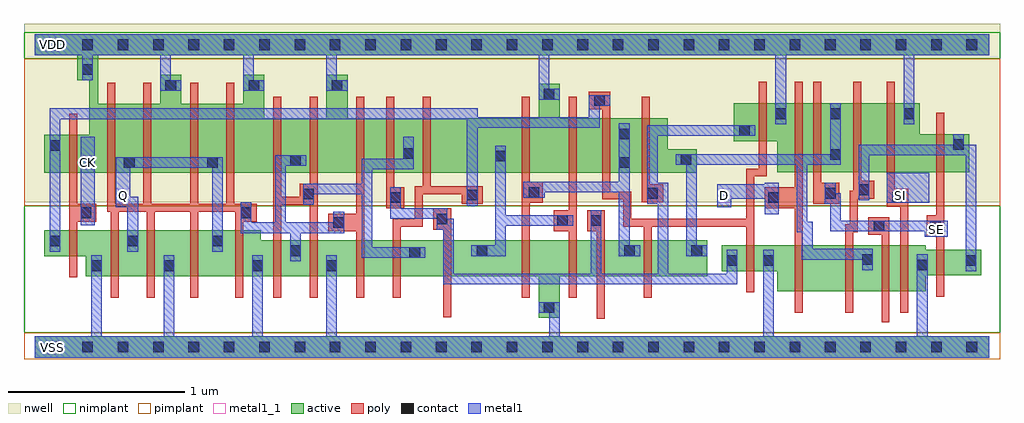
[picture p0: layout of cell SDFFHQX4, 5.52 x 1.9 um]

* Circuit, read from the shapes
.subckt SDFFHQX4 CK D Q SE SI VDD VSS
M1 VSS CK n1 VSS nfet w=0.145u l=0.045u
M2 Q n2 VSS VSS nfet w=0.26u l=0.045u m=4
M3 n2 n3 VSS VSS nfet w=0.205u l=0.045u m=2
M4 n4 n2 VSS VSS nfet w=0.205u l=0.045u
M5 n3 n1 n4 VSS nfet w=0.205u l=0.045u
M6 n5 n6 n3 VSS nfet w=0.205u l=0.045u
M7 VSS n7 n5 VSS nfet w=0.205u l=0.045u
M8 n8 n5 VSS VSS nfet w=0.205u l=0.045u
M9 n7 n6 n8 VSS nfet w=0.205u l=0.045u
M10 n9 n1 n7 VSS nfet w=0.205u l=0.045u
M11 VSS n1 n6 VSS nfet w=0.145u l=0.045u
M12 n10 D VSS VSS nfet w=0.26u l=0.045u
M13 n9 n11 n10 VSS nfet w=0.26u l=0.045u
M14 n12 SE n9 VSS nfet w=0.26u l=0.045u
M15 VSS SI n12 VSS nfet w=0.26u l=0.045u
M16 n11 SE VSS VSS nfet w=0.145u l=0.045u
M17 VDD CK n1 VDD pfet w=0.215u l=0.045u
M18 Q n2 VDD VDD pfet w=0.39u l=0.045u m=4
M19 n2 n3 VDD VDD pfet w=0.31u l=0.045u m=2
M20 n13 n2 VDD VDD pfet w=0.31u l=0.045u
M21 n3 n6 n13 VDD pfet w=0.31u l=0.045u
M22 n5 n1 n3 VDD pfet w=0.31u l=0.045u
M23 VDD n7 n5 VDD pfet w=0.31u l=0.045u
M24 n14 n5 VDD VDD pfet w=0.31u l=0.045u
M25 n7 n1 n14 VDD pfet w=0.31u l=0.045u
M26 n9 n6 n7 VDD pfet w=0.31u l=0.045u
M27 VDD n1 n6 VDD pfet w=0.215u l=0.045u
M28 n15 D VDD VDD pfet w=0.39u l=0.045u
M29 n9 SE n15 VDD pfet w=0.39u l=0.045u
M30 n16 n11 n9 VDD pfet w=0.39u l=0.045u
M31 VDD SI n16 VDD pfet w=0.39u l=0.045u
M32 n11 SE VDD VDD pfet w=0.215u l=0.045u
.ends

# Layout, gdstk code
import gdstk
lib = gdstk.Library(unit=1e-6, precision=5e-10)
def R(c, l, rs):  # rectangles x0, y0, x1, y1
    for r in rs: c.add(gdstk.rectangle(r[:2], r[2:], *l))
def A(c, l, x, y, w, h, nx, ny, dx, dy):  # array of equal rectangles
    R(c, l, [(x+i*dx, y+j*dy, x+i*dx+w, y+j*dy+h) for i in range(nx) for j in range(ny)])
def P(c, l, *ps):  # polygons
    for p in ps: c.add(gdstk.Polygon(p, *l))
active = (1, 0)
nwell = (2, 0)
poly = (3, 0)
nimplant = (4, 0)
pimplant = (5, 0)
contact = (6, 0)
metal1 = (7, 0)
metal1_1 = (7, 1)

sdffhqx4 = lib.new_cell('SDFFHQX4')
R(sdffhqx4, active, [(0,-0.06,5.4,0.06)])
P(sdffhqx4, active, [(0,1.77),(5.4,1.77),(5.4,1.65),(0.36,1.65),(0.36,1.375),(0.71,1.375),(0.71,1.54),(0.83,1.54),(0.83,1.375),(1.18,1.375),(1.18,1.54),(1.3,1.54),(1.3,1.295),(1.65,1.295),(1.65,1.54),(1.77,1.54),(1.77,1.295),(2.85,1.295),(2.85,1.49),(2.97,1.49),(2.97,1.295),(3.58,1.295),(3.58,1.12),(3.745,1.12),(3.745,0.985),(0.055,0.985),(0.055,1.2),(0.31,1.2),(0.31,1.51),(0.24,1.51),(0.24,1.65),(0,1.65)],
  [(3.955,1.38),(5.005,1.38),(5.005,1.205),(5.285,1.205),(5.285,0.99),(4.2,0.99),(4.2,1.165),(3.955,1.165)],
  [(0.055,0.66),(1.28,0.66),(1.28,0.605),(3.805,0.605),(3.805,0.4),(2.97,0.4),(2.97,0.165),(2.85,0.165),(2.85,0.4),(0.29,0.4),(0.29,0.515),(0.055,0.515)],
  [(3.885,0.575),(5.04,0.575),(5.04,0.55),(5.355,0.55),(5.355,0.405),(5.04,0.405),(5.04,0.315),(4.2,0.315),(4.2,0.43),(3.885,0.43)])
R(sdffhqx4, nwell, [(-0.06,0.82,5.46,1.83)])
P(sdffhqx4, poly, [(0.41,1.495),(0.455,1.495),(0.455,0.81),(0.615,0.81),(0.615,1.495),(0.66,1.495),(0.66,0.81),(0.88,0.81),(0.88,1.495),(0.925,1.495),(0.925,0.81),(1.085,0.81),(1.085,1.495),(1.13,1.495),(1.13,0.81),(1.255,0.81),(1.255,0.71),(1.18,0.71),(1.18,0.28),(1.135,0.28),(1.135,0.765),(0.925,0.765),(0.925,0.28),(0.88,0.28),(0.88,0.765),(0.68,0.765),(0.68,0.28),(0.635,0.28),(0.635,0.765),(0.475,0.765),(0.475,0.28),(0.43,0.28),(0.43,0.765),(0.41,0.765)],
  [(0.195,1.32),(0.24,1.32),(0.24,0.81),(0.35,0.81),(0.35,0.71),(0.24,0.71),(0.24,0.395),(0.195,0.395)],
  [(3.135,1.445),(3.255,1.445),(3.255,0.88),(3.375,0.88),(3.375,0.725),(4.025,0.725),(4.025,1.01),(4.095,1.01),(4.095,1.5),(4.14,1.5),(4.14,0.965),(4.07,0.965),(4.07,0.31),(4.025,0.31),(4.025,0.68),(3.49,0.68),(3.49,0.28),(3.445,0.28),(3.445,0.68),(3.33,0.68),(3.33,0.835),(3.21,0.835),(3.21,1.345),(3.135,1.345)],
  [(1.35,1.415),(1.395,1.415),(1.395,0.85),(1.5,0.85),(1.5,0.925),(1.555,0.925),(1.555,1.415),(1.6,1.415),(1.6,0.28),(1.555,0.28),(1.555,0.805),(1.395,0.805),(1.395,0.28),(1.35,0.28)],
  [(1.82,1.415),(1.865,1.415),(1.865,0.28),(1.82,0.28),(1.82,0.655),(1.66,0.655),(1.66,0.755),(1.82,0.755)],
  [(1.99,1.415),(2.035,1.415),(2.035,0.905),(2.09,0.905),(2.09,0.785),(1.99,0.785)],
  [(2.195,1.415),(2.24,1.415),(2.24,0.91),(2.535,0.91),(2.535,0.81),(2.415,0.81),(2.415,0.865),(2.195,0.865),(2.195,0.68),(2.07,0.68),(2.07,0.28),(2.025,0.28),(2.025,0.725),(2.15,0.725),(2.15,0.91),(2.195,0.91)],
  [(2.755,1.415),(2.8,1.415),(2.8,0.935),(2.875,0.935),(2.875,0.815),(2.8,0.815),(2.8,0.28),(2.755,0.28)],
  [(3.02,1.415),(3.065,1.415),(3.065,0.28),(3.02,0.28),(3.02,0.655),(2.935,0.655),(2.935,0.775),(3.02,0.775)],
  [(4.3,1.5),(4.345,1.5),(4.345,0.195),(4.3,0.195),(4.3,0.785),(4.13,0.785),(4.13,0.905),(4.3,0.905)],
  [(4.405,1.5),(4.45,1.5),(4.45,0.93),(4.55,0.93),(4.55,0.81),(4.405,0.81)],
  [(4.63,1.5),(4.675,1.5),(4.675,0.94),(4.75,0.94),(4.75,0.84),(4.655,0.84),(4.655,0.65),(4.63,0.65),(4.63,0.195),(4.585,0.195),(4.585,0.695),(4.61,0.695),(4.61,0.885),(4.63,0.885)],
  [(4.82,1.5),(4.865,1.5),(4.865,0.895),(4.94,0.895),(4.94,0.195),(4.895,0.195),(4.895,0.795),(4.82,0.795)],
  [(3.435,1.415),(3.48,1.415),(3.48,0.92),(3.555,0.92),(3.555,0.82),(3.435,0.82)],
  [(5.1,1.325),(5.145,1.325),(5.145,0.285),(5.1,0.285),(5.1,0.625),(5.045,0.625),(5.045,0.745),(5.1,0.745)],
  [(2.255,0.785),(2.355,0.785),(2.355,0.17),(2.31,0.17),(2.31,0.665),(2.255,0.665)],
  [(3.125,0.775),(3.225,0.775),(3.225,0.16),(3.18,0.16),(3.18,0.655),(3.125,0.655)],
  [(4.715,0.735),(4.835,0.735),(4.835,0.14),(4.79,0.14),(4.79,0.635),(4.715,0.635)])
R(sdffhqx4, nimplant, [(-0.06,0.08,5.46,0.8), (-0.06,1.63,5.46,1.78)])
R(sdffhqx4, pimplant, [(-0.06,-0.07,5.46,0.08), (-0.06,0.8,5.46,1.63)])
A(sdffhqx4, contact, 0.07, -0.03, 0.06, 0.06, 27, 2, 0.2, 1.71)
A(sdffhqx4, contact, 0.74, 1.45, 0.06, 0.06, 3, 1, 0.47, 0)
R(sdffhqx4, contact, [(2.88,0.195,2.94,0.255), (0.32,0.43,0.38,0.49), (0.73,0.43,0.79,0.49), (1.23,0.43,1.29,0.49), (1.65,0.43,1.71,0.49), (4.99,0.435,5.05,0.495), (3.915,0.46,3.975,0.52), (4.12,0.46,4.18,0.52), (5.265,0.46,5.325,0.52), (4.68,0.465,4.74,0.525), (2.12,0.505,2.18,0.565), (1.445,0.515,1.505,0.575), (2.5,0.515,2.56,0.575), (3.335,0.515,3.395,0.575), (3.715,0.515,3.775,0.575), (0.085,0.57,0.145,0.63), (0.525,0.57,0.585,0.63), (1.005,0.57,1.065,0.63), (4.745,0.655,4.805,0.715), (5.065,0.655,5.125,0.715), (1.69,0.675,1.75,0.735), (2.955,0.685,3.015,0.745), (3.145,0.685,3.205,0.745), (2.275,0.695,2.335,0.755), (0.26,0.73,0.32,0.79), (1.165,0.73,1.225,0.79), (2.01,0.815,2.07,0.875), (4.15,0.815,4.21,0.875), (4.85,0.815,4.91,0.875), (2.445,0.83,2.505,0.89), (1.52,0.835,1.58,0.895), (3.465,0.84,3.525,0.9), (4.47,0.84,4.53,0.9), (2.795,0.845,2.855,0.905), (4.66,0.86,4.72,0.92), (0.505,1.015,0.565,1.075), (0.975,1.015,1.035,1.075), (3.305,1.015,3.365,1.075), (1.445,1.025,1.505,1.085), (3.655,1.03,3.715,1.09), (2.605,1.05,2.665,1.11), (4.5,1.06,4.56,1.12), (2.085,1.065,2.145,1.125), (0.085,1.11,0.145,1.17), (5.195,1.115,5.255,1.175), (3.305,1.175,3.365,1.235), (3.985,1.195,4.045,1.255), (4.19,1.29,4.25,1.35), (4.5,1.29,4.56,1.35), (4.915,1.29,4.975,1.35), (3.165,1.365,3.225,1.425), (2.88,1.4,2.94,1.46), (0.27,1.54,0.33,1.6)])
R(sdffhqx4, metal1, [(0.26,0.69,0.34,1.19), (4.82,0.815,5.06,0.985)])
P(sdffhqx4, metal1, [(0,1.77),(5.4,1.77),(5.4,1.65),(4.975,1.65),(4.975,1.26),(4.915,1.26),(4.915,1.65),(4.25,1.65),(4.25,1.26),(4.19,1.26),(4.19,1.65),(2.91,1.65),(2.91,1.46),(2.97,1.46),(2.97,1.4),(2.85,1.4),(2.85,1.65),(1.71,1.65),(1.71,1.51),(1.77,1.51),(1.77,1.45),(1.65,1.45),(1.65,1.65),(1.24,1.65),(1.24,1.51),(1.3,1.51),(1.3,1.45),(1.18,1.45),(1.18,1.65),(0.77,1.65),(0.77,1.51),(0.83,1.51),(0.83,1.45),(0.71,1.45),(0.71,1.65),(0.33,1.65),(0.33,1.51),(0.27,1.51),(0.27,1.65),(0,1.65)],
  [(3.135,1.425),(3.255,1.425),(3.255,1.365),(3.195,1.365),(3.195,1.24),(2.505,1.24),(2.505,0.8),(2.445,0.8),(2.445,1.29),(0.145,1.29),(0.145,0.54),(0.085,0.54),(0.085,1.35),(2.505,1.35),(2.505,1.3),(3.135,1.3)],
  [(2.085,1.19),(2.145,1.19),(2.145,1.005),(1.91,1.005),(1.91,0.565),(2.21,0.565),(2.21,0.505),(1.85,0.505),(1.85,0.865),(1.58,0.865),(1.58,0.805),(1.52,0.805),(1.52,0.925),(1.85,0.925),(1.85,1.065),(2.085,1.065)],
  [(0.46,1.075),(1.065,1.075),(1.065,0.54),(1.005,0.54),(1.005,1.015),(0.54,1.015),(0.54,0.85),(0.585,0.85),(0.585,0.54),(0.525,0.54),(0.525,0.79),(0.46,0.79)],
  [(1.36,1.085),(1.535,1.085),(1.535,1.025),(1.42,1.025),(1.42,0.705),(1.69,0.705),(1.69,0.765),(1.75,0.765),(1.75,0.645),(1.505,0.645),(1.505,0.485),(1.445,0.485),(1.445,0.645),(1.165,0.645),(1.165,0.82),(1.225,0.82),(1.225,0.705),(1.36,0.705)],
  [(3.465,1.255),(4.075,1.255),(4.075,1.195),(3.525,1.195),(3.525,0.93),(3.585,0.93),(3.585,0.415),(3.915,0.415),(3.915,0.55),(3.975,0.55),(3.975,0.355),(2.31,0.355),(2.31,0.665),(2.275,0.665),(2.275,0.725),(2.01,0.725),(2.01,0.905),(2.07,0.905),(2.07,0.785),(2.335,0.785),(2.335,0.725),(2.37,0.725),(2.37,0.415),(3.145,0.415),(3.145,0.775),(3.205,0.775),(3.205,0.415),(3.525,0.415),(3.525,0.81),(3.465,0.81)],
  [(3.305,1.265),(3.365,1.265),(3.365,0.575),(3.425,0.575),(3.425,0.515),(3.305,0.515),(3.305,0.875),(2.885,0.875),(2.885,0.845),(2.765,0.845),(2.765,0.935),(3.305,0.935)],
  [(0.32,0.52),(0.38,0.52),(0.38,0.06),(0.73,0.06),(0.73,0.52),(0.79,0.52),(0.79,0.06),(1.23,0.06),(1.23,0.52),(1.29,0.52),(1.29,0.06),(1.65,0.06),(1.65,0.52),(1.71,0.52),(1.71,0.06),(2.91,0.06),(2.91,0.195),(2.85,0.195),(2.85,0.255),(2.97,0.255),(2.97,0.06),(4.12,0.06),(4.12,0.55),(4.18,0.55),(4.18,0.06),(4.99,0.06),(4.99,0.525),(5.05,0.525),(5.05,0.06),(5.4,0.06),(5.4,-0.06),(0,-0.06),(0,0.06),(0.32,0.06)],
  [(2.605,1.14),(2.665,1.14),(2.665,0.745),(3.045,0.745),(3.045,0.685),(2.665,0.685),(2.665,0.515),(2.47,0.515),(2.47,0.575),(2.605,0.575)],
  [(4.5,1.38),(4.56,1.38),(4.56,1.03),(4.37,1.03),(4.37,0.71),(4.4,0.71),(4.4,0.555),(4.74,0.555),(4.74,0.435),(4.68,0.435),(4.68,0.495),(4.34,0.495),(4.34,0.65),(4.31,0.65),(4.31,1.03),(3.745,1.03),(3.745,0.575),(3.805,0.575),(3.805,0.515),(3.685,0.515),(3.685,1.03),(3.625,1.03),(3.625,1.09),(4.5,1.09)],
  [(5.195,1.205),(5.255,1.205),(5.255,1.145),(5.325,1.145),(5.325,0.43),(5.265,0.43),(5.265,1.085),(4.72,1.085),(4.72,0.83),(4.66,0.83),(4.66,1.145),(5.195,1.145)],
  [(4.13,0.93),(4.21,0.93),(4.21,0.75),(4.13,0.75),(4.13,0.84),(3.94,0.84),(3.94,0.79),(3.86,0.79),(3.86,0.92),(4.13,0.92)],
  [(4.47,0.93),(4.53,0.93),(4.53,0.87),(4.56,0.87),(4.56,0.715),(5.165,0.715),(5.165,0.625),(5.035,0.625),(5.035,0.655),(4.5,0.655),(4.5,0.81),(4.47,0.81)])
R(sdffhqx4, metal1_1, [(0.06,-0.04,0.14,0.04), (5.06,0.625,5.14,0.705), (0.46,0.815,0.54,0.895), (3.86,0.815,3.94,0.895), (4.86,0.815,4.94,0.895), (0.26,1.005,0.34,1.085), (0.06,1.67,0.14,1.75)])
sdffhqx4.add(gdstk.Label('SE', (5.1,0.665), layer=7, texttype=1))
sdffhqx4.add(gdstk.Label('SI', (4.9,0.855), layer=7, texttype=1))
sdffhqx4.add(gdstk.Label('D', (3.9,0.855), layer=7, texttype=1))
sdffhqx4.add(gdstk.Label('CK', (0.3,1.045), layer=7, texttype=1))
sdffhqx4.add(gdstk.Label('Q', (0.5,0.855), layer=7, texttype=1))
sdffhqx4.add(gdstk.Label('VDD', (0.1,1.71), layer=7, texttype=1))
sdffhqx4.add(gdstk.Label('VSS', (0.1,0), layer=7, texttype=1))
sdffhqx4.add(gdstk.Label('SDFFHQX4', (0,0), layer=63, texttype=0))

lib.write_gds('SDFFHQX4.gds')
